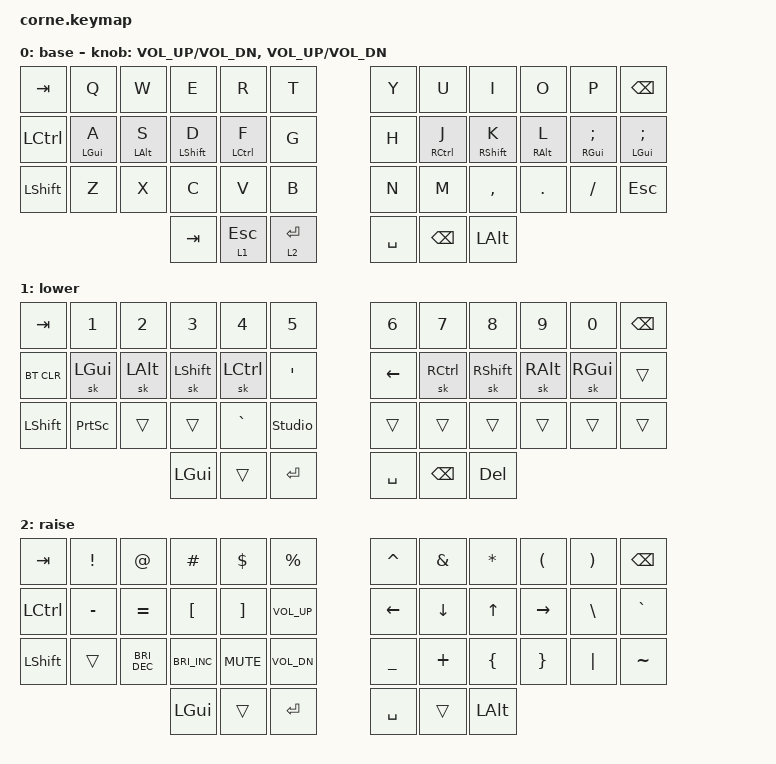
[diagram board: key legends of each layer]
#include <behaviors.dtsi>
#include <dt-bindings/zmk/bt.h>
#include <dt-bindings/zmk/keys.h>

&mt {
    tapping-term-ms = <200>;
    quick-tap-ms = <175>;
    require-prior-idle-ms = <150>;
    flavor = "balanced";
};

&lt { tapping-term-ms = <200>; };

/ {
    combos {
        compatible = "zmk,combos";

        combo_studio_unlock {
            timeout-ms = <50>;
            key-positions = <0 1>;
            bindings = <&kp TAB>;
        };

        Qoute {
            bindings = <&kp DOUBLE_QUOTES>;
            key-positions = <21 22>;
        };

        tab {
            bindings = <&kp TAB>;
            key-positions = <13 14>;
        };

        rightbrace {
            bindings = <&kp LEFT_BRACKET>;
            key-positions = <9 10>;
        };

        leftbbrace {
            bindings = <&kp LEFT_BRACE>;
            key-positions = <8 9>;
        };

        paran {
            bindings = <&kp LEFT_PARENTHESIS>;
            key-positions = <7 8>;
        };

        resetl {
            bindings = <&sys_reset>;
            key-positions = <13 14 15 16>;
            timeout-ms = <200>;
        };

        resetr {
            bindings = <&sys_reset>;
            key-positions = <19 20 21 22>;
            timeout-ms = <200>;
        };
    };

    keymap {
        compatible = "zmk,keymap";

        default_layer {
            display-name = "base";
            sensor-bindings = <&inc_dec_kp C_VOL_UP C_VOL_DN &inc_dec_kp C_VOL_UP C_VOL_DN>;

            // -----------------------------------------------------------------------------------------
            // |  TAB |  Q  |  W  |  E  |  R  |  T  |   |  Y  |  U   |  I  |  O  |  P  | BSPC |
            // | CTRL |  A  |  S  |  D  |  F  |  G  |   |  H  |  J   |  K  |  L  |  ;  |  '   |
            // | SHFT |  Z  |  X  |  C  |  V  |  B  |   |  N  |  M   |  ,  |  .  |  /  | ESC  |
            //                    | GUI | LWR | SPC |   | ENT | RSE  | ALT |

            bindings = <
&kp TAB    &kp Q           &kp W           &kp E             &kp R         &kp T        &kp Y      &kp U        &kp I              &kp O            &kp P               &kp BSPC
&kp LCTRL  &mt LEFT_GUI A  &mt LEFT_ALT S  &mt LEFT_SHIFT D  &mt LCTRL F   &kp G        &kp H      &mt RCTRL J  &mt RIGHT_SHIFT K  &mt RIGHT_ALT L  &mt RIGHT_GUI SEMI  &mt LEFT_GUI SEMI
&kp LSHFT  &kp Z           &kp X           &kp C             &kp V         &kp B        &kp N      &kp M        &kp COMMA          &kp DOT          &kp FSLH            &kp ESC
                                           &kp TAB           &lt 1 ESCAPE  &lt 2 ENTER  &kp SPACE  &kp BSPC     &kp LALT
            >;
        };

        lower_layer {
            display-name = "lower";

            // -----------------------------------------------------------------------------------------
            // |  TAB |  1  |  2  |  3  |  4  |  5  |   |  6  |  7  |  8  |  9  |  0  | BSPC |
            // | BTCLR| BT1 | BT2 | BT3 | BT4 | BT5 |   | LFT | DWN |  UP | RGT |     |      |
            // | SHFT |     |     |     |     |     |   |     |     |     |     |     |      |
            //                    | GUI |     | SPC |   | ENT |     | ALT |

            bindings = <
&kp TAB     &kp N1           &kp N2        &kp N3          &kp N4            &kp N5          &kp N6     &kp N7             &kp N8           &kp N9         &kp N0         &kp BSPC
&bt BT_CLR  &sk LEFT_GUI     &sk LEFT_ALT  &sk LEFT_SHIFT  &sk LEFT_CONTROL  &kp APOS        &kp LEFT   &sk RIGHT_CONTROL  &sk RIGHT_SHIFT  &sk RIGHT_ALT  &sk RIGHT_GUI  &trans
&kp LSHFT   &kp PRINTSCREEN  &trans        &trans          &kp GRAVE         &studio_unlock  &trans     &trans             &trans           &trans         &trans         &trans
                                           &kp LGUI        &trans            &kp ENTER       &kp SPACE  &kp BACKSPACE      &kp DELETE
            >;
        };

        raise_layer {
            display-name = "raise";

            // -----------------------------------------------------------------------------------------
            // |  TAB |  !  |  @  |  #  |  $  |  %  |   |  ^  |  &  |  *  |  (  |  )  | BSPC |
            // | CTRL |     |     |     |     |     |   |  -  |  =  |  [  |  ]  |  \  |  `   |
            // | SHFT |     |     |     |     |     |   |  _  |  +  |  {  |  }  | "|" |  ~   |
            //                    | GUI |     | SPC |   | ENT |     | ALT |

            bindings = <
&kp TAB    &kp EXCL   &kp AT                &kp HASH              &kp DLLR           &kp PRCNT        &kp CARET  &kp AMPS  &kp ASTRK     &kp LPAR         &kp RPAR  &kp BSPC
&kp LCTRL  &kp MINUS  &kp EQUAL             &kp LEFT_BRACKET      &kp RIGHT_BRACKET  &kp C_VOLUME_UP  &kp LEFT   &kp DOWN  &kp UP_ARROW  &kp RIGHT_ARROW  &kp BSLH  &kp GRAVE
&kp LSHFT  &trans     &kp C_BRIGHTNESS_DEC  &kp C_BRIGHTNESS_INC  &kp K_MUTE         &kp C_VOL_DN     &kp UNDER  &kp PLUS  &kp LBRC      &kp RBRC         &kp PIPE  &kp TILDE
                                            &kp LGUI              &trans             &kp ENTER        &kp SPACE  &trans    &kp LALT
            >;
        };

        extra_layer0 {
            display-name = "extra_layer0";
            status = "reserved";
        };

        extra_layer1 {
            display-name = "extra_layer1";
            status = "reserved";
        };

        extra_layer2 {
            display-name = "extra_layer2";
            status = "reserved";
        };
    };
};
